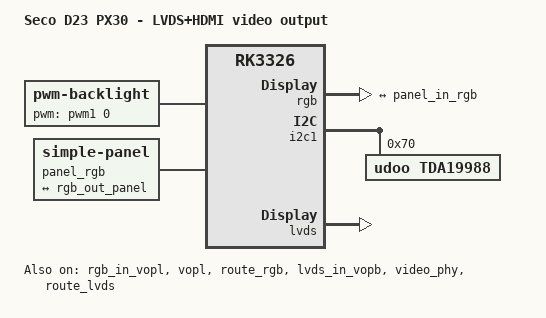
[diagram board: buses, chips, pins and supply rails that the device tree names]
/*
 * Copyright 2020 SECO
 *
 * This program is free software; you can redistribute it and/or
 * modify it under the terms of the GNU General Public License
 * as published by the Free Software Foundation; either version 2
 * of the License, or (at your option) any later version.
 *
 * This program is distributed in the hope that it will be useful,
 * but WITHOUT ANY WARRANTY; without even the implied warranty of
 * MERCHANTABILITY or FITNESS FOR A PARTICULAR PURPOSE.  See the
 * GNU General Public License for more details.
 */

/dts-v1/;
/plugin/;

#include <dt-bindings/clock/px30-cru.h>
#include <dt-bindings/display/media-bus-format.h>

/ {
	model = "Seco D23 PX30 - LVDS+HDMI video output";
	compatible = "rockchip,seco-px30-d23", "rockchip,px30", "rockchip,linux", "rockchip,rk3326";

/*  __________________________________________________________________________
 * |                                                                          |
 * |                              LVDS+HDMI		                        |
 * |__________________________________________________________________________|
 */

	fragment@0 {
		target-path = "/";
		__overlay__ {
			chosen {
				bootargs = "swiotlb=1 console=ttyFIQ0 rw rootwait board_revC-LVDSHDMI";
			};

			backlight: backlight {
				compatible = "pwm-backlight";
				pwms = <&pwm1 0 1000000 0>;
			};

			panel_lvds {
				bus-format = <MEDIA_BUS_FMT_RGB888_1X7X4_SPWG>;

				display-timings {
					native-mode = <&timing0>;

					timing0: timing0 {
						clock-frequency = <66100000>;
						hactive = <1280>;
						vactive = <800>;
						hback-porch = <35>;
						hfront-porch = <35>;
						vback-porch = <4>;
						vfront-porch = <4>;
						hsync-len = <10>;
						vsync-len = <2>;
						de-active = <0>;
						pixelclk-active = <0>;
					};
				};
			};

			panel_rgb {
				compatible = "simple-panel";
				enable-delay-ms = <120>;
				prepare-delay-ms = <20>;
				unprepare-delay-ms = <20>;
				disable-delay-ms = <20>;
				bus-format = <MEDIA_BUS_FMT_RGB888_1X7X4_SPWG>;

				width-mm = <154>;
				height-mm = <86>;

				display-timings {
					native-mode = <&timing1>;

					timing1: timing1 {
						clock-frequency = <148500000>;
						hactive = <1920>;
						vactive = <1080>;
						hback-porch = <80>;
						hfront-porch = <80>;
						vback-porch = <18>;
						vfront-porch = <20>;
						hsync-len = <80>;
						vsync-len = <7>;
						hsync-active = <0>;
						vsync-active = <0>;
						de-active = <0>;
						pixelclk-active = <0>;
					};
				};

				port {
					panel_in_rgb: endpoint {
						remote-endpoint = <&rgb_out_panel>;
					};
				};
			};
		};
	};

	fragment@1 {
		target = <&rgb>;
		__overlay__ {
			status = "okay";
			ports {
				#address-cells = <1>;
				#size-cells = <0>;
				port@1 {
					reg = <1>;
					rgb_out_panel: endpoint {
						remote-endpoint = <&panel_in_rgb>;
					};
				};
			};
		};
	};

	fragment@2 {
		target = <&i2c1>;
		__overlay__ {
			status = "okay";
			#address-cells = <1>;
			#size-cells = <0>;

			tda19988: tda19988@70 {
				compatible = "udoo,tda19988";
				reg = <0x70>;
				video-ports = <0x234501>;
				status = "okay";
			};
		};
	};

	fragment@3 {
		target = <&rgb_in_vopl>;
		__overlay__ {
			status = "okay";
		};
	};

	fragment@4 {
		target = <&vopl>;
		__overlay__ {
			status = "okay";
		};
	};

	fragment@5 {
		target = <&route_rgb>;
		__overlay__ {
			connect = <&vopl_out_rgb>;
			status = "okay";
		};
	};

	fragment@6 {
		target = <&lvds>;
		__overlay__ {
			status = "okay";
		};
	};

	fragment@7 {
		target = <&lvds_in_vopb>;
		__overlay__ {
			status = "okay";
		};
	};

	fragment@8 {
		target = <&vopl>;
		__overlay__ {
			status = "okay";
			assigned-clocks = <&cru PLL_NPLL>;
			assigned-clock-rates = <1188000000>;
		};
	};

	fragment@9 {
		target = <&video_phy>;
		__overlay__ {
			status = "okay";
		};
	};

	fragment@10 {
		target = <&route_lvds>;
		__overlay__ {
			connect = <&vopl_out_lvds>;
			status = "okay";
		};
	};
};
